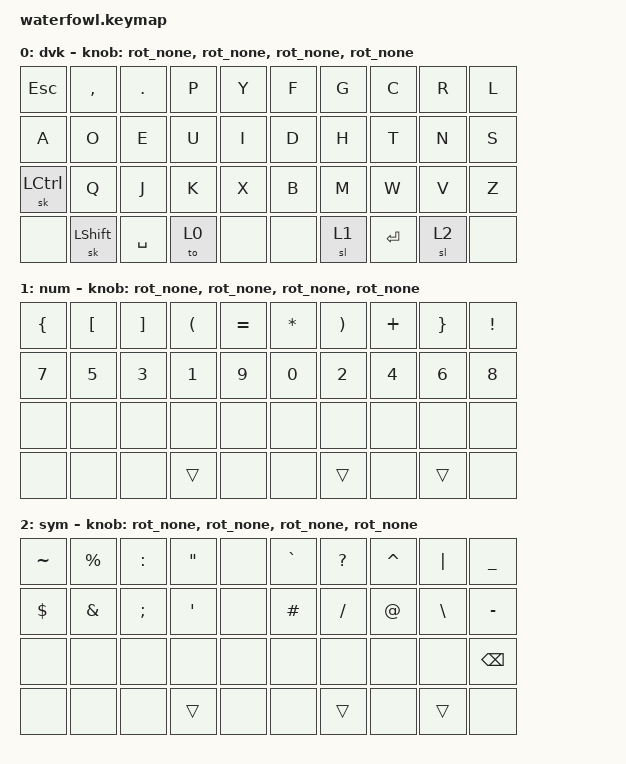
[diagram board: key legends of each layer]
#include <behaviors.dtsi>
#include <dt-bindings/zmk/keys.h>
#include <dt-bindings/zmk/bt.h>

// :'<,'>Tabularize /&[^&]*[^& ]/l3

/ {

    behaviors {
        rot_none: rot_none {
            compatible = "zmk,behavior-sensor-rotate";
            #sensor-binding-cells = <0>;
            bindings = <&none>, <&none>;
        };
    };

    keymap {
        compatible = "zmk,keymap";

        dvk {
            display-name = "dvk";

            bindings = <
                &kp ESC        &kp COMMA       &kp PERIOD      &kp P      &kp Y      &kp F      &kp G      &kp C           &kp R      &kp L
                &kp A          &kp O           &kp E           &kp U      &kp I      &kp D      &kp H      &kp T           &kp N      &kp S
                &sk LCTRL      &kp Q           &kp J           &kp K      &kp X      &kp B      &kp M      &kp W           &kp V      &kp Z
                &none          &sk LSHIFT      &kp SPACE       &to 0      &none      &none      &sl 1      &kp RETURN      &sl 2      &none
            >;

            sensor-bindings = <
                &rot_none
                &rot_none
                &rot_none
                &rot_none
            >;
        };

        num {
            display-name = "num";

            bindings = <
                &kp LBRC      &kp LBKT      &kp RBKT      &kp LPAR      &kp EQUAL      &kp STAR      &kp RPAR      &kp PLUS      &kp RBRC      &kp EXCLAMATION
                &kp N7        &kp N5        &kp N3        &kp N1        &kp N9         &kp N0        &kp N2        &kp N4        &kp N6        &kp N8
                &none         &none         &none         &none         &none          &none         &none         &none         &none         &none
                &none         &none         &none         &trans        &none          &none         &trans        &none         &trans        &none
            >;

            sensor-bindings = <
                &rot_none
                &rot_none
                &rot_none
                &rot_none
            >;
        };

        sym {
            display-name = "sym";

            bindings = <
                &kp TILDE       &kp PERCENT        &kp COLON          &kp DQT      &none      &kp GRAVE      &kp QUESTION      &kp CARET      &kp PIPE           &kp UNDER
                &kp DOLLAR      &kp AMPERSAND      &kp SEMICOLON      &kp SQT      &none      &kp HASH       &kp SLASH         &kp AT         &kp BACKSLASH      &kp MINUS
                &none           &none              &none              &none        &none      &none          &none             &none          &none              &kp BACKSPACE
                &none           &none              &none              &trans       &none      &none          &trans            &none          &trans             &none
            >;

            sensor-bindings = <
                &rot_none
                &rot_none
                &rot_none
                &rot_none
            >;
        };
    };
};
